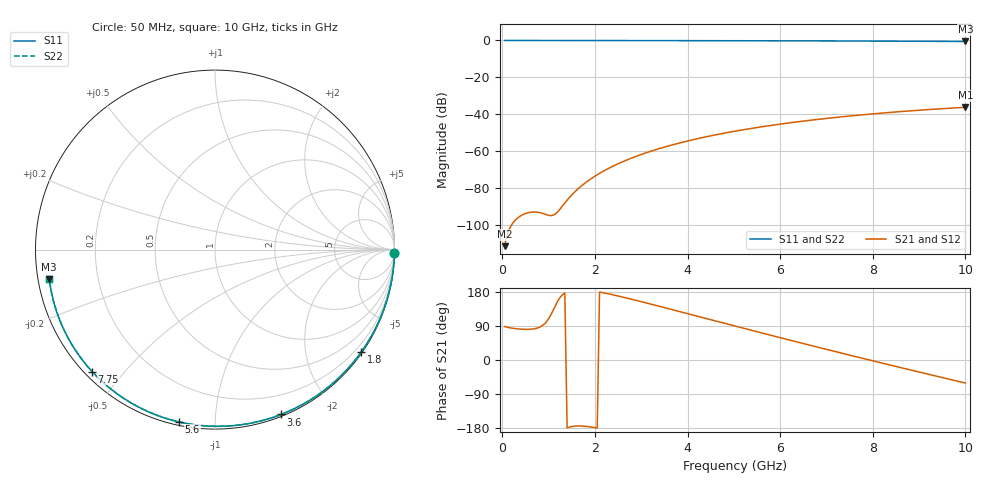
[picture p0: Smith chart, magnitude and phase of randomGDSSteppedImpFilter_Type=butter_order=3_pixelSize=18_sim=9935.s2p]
! freq	dB(S11)	phase(S11)	dB(S12)	phase(S12)
!  dB(S21)	phase(S21)	dB(S22)	phase(S22)
!S-par simulation data
#  GHz  S  DB  R 50
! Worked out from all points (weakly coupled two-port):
!   200 points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, 50 MHz to 10 GHz, reference 50 ohm
!   highest |S21| = -36.22 dB at 10 GHz (marker M1); lowest = -111.5 dB at 50 MHz (marker M2)
!   lowest |S11| = -0.6 dB at 10 GHz (marker M3), VSWR 31.22, Z = 1.61 - j4.41 ohm
!   |S11| at or under -10 dB: nowhere
!   |S22| runs from -0.6 to 0.0 dB; largest |S21 - S12| = 0
!   S11 on the Smith chart (normalised r, x): 50 MHz: open; 1.8 GHz: 0.03, -3.16; 3.6 GHz: 0.02, -1.48; 5.6 GHz: 0.02, -0.81; 7.75 GHz: 0.02, -0.41; 10 GHz: 0.03, -0.09
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0.05  -0.00 -1.0  -111.48 88.2  -111.48 88.2  -0.00 -1.0
0.45  -0.01 -8.9  -94.32 81.1  -94.32 81.1  -0.01 -8.9
0.85  -0.02 -16.8  -93.55 89.5  -93.55 89.5  -0.02 -16.8
1.65  -0.04 -32.3  -80.07 -174.0  -80.07 -174.0  -0.04 -32.3
1.75  -0.04 -34.2  -77.97 -174.5  -77.97 -174.5  -0.04 -34.2
1.8  -0.04 -35.1  -77.00 -175.0  -77.00 -175.0  -0.04 -35.1
1.95  -0.05 -38.0  -74.34 -177.4  -74.34 -177.4  -0.05 -38.0
2.1  -0.05 -40.8  -72.00 179.4  -72.00 179.4  -0.05 -40.8
2.3  -0.06 -44.6  -69.24 174.4  -69.24 174.4  -0.06 -44.6
2.5  -0.06 -48.3  -66.82 168.9  -66.82 168.9  -0.06 -48.3
2.9  -0.07 -55.6  -62.70 157.1  -62.70 157.1  -0.07 -55.6
3.4  -0.09 -64.6  -58.53 141.5  -58.53 141.5  -0.09 -64.6
3.6  -0.09 -68.2  -57.08 135.2  -57.08 135.2  -0.09 -68.2
4.3  -0.11 -80.3  -52.75 112.8  -52.75 112.8  -0.11 -80.3
5.05  -0.14 -92.9  -49.05 88.9  -49.05 88.9  -0.14 -92.8
5.6  -0.17 -101.8  -46.79 71.5  -46.79 71.5  -0.17 -101.8
6.15  -0.20 -110.5  -44.82 54.2  -44.82 54.2  -0.20 -110.5
6.7  -0.23 -119.1  -43.10 37.2  -43.10 37.2  -0.23 -119.1
7.75  -0.31 -135.2  -40.35 5.3  -40.35 5.3  -0.31 -135.2
8.35  -0.37 -144.4  -39.04 -12.6  -39.04 -12.6  -0.37 -144.3
9.2  -0.46 -157.4  -37.45 -37.6  -37.45 -37.6  -0.46 -157.4
10  -0.56 -169.9  -36.22 -60.8  -36.22 -60.8  -0.56 -169.9
